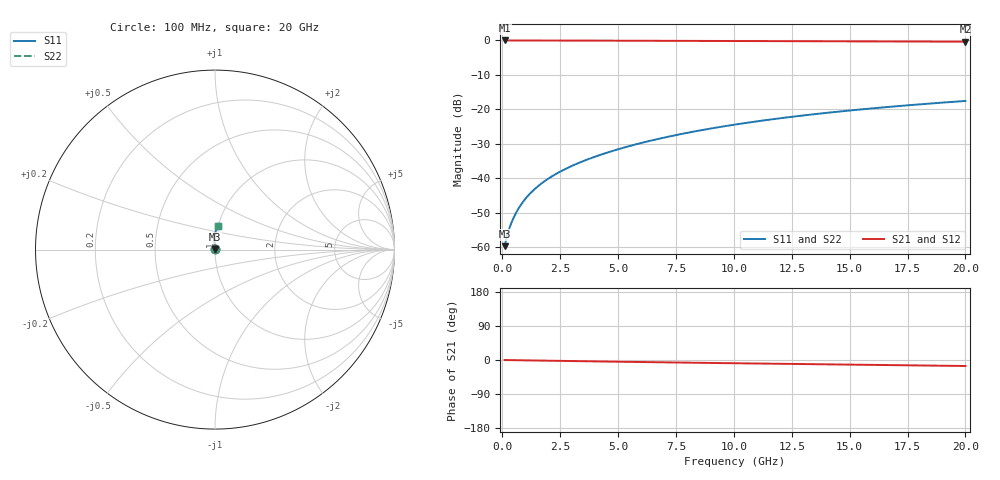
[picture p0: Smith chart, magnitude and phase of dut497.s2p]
! Touchstone file exported from HFSS 2024.1.0
!  File:  C:/UserFiles/LocalFiles/RDL_TSV_Batchsim/temp_RDL_top_497_1779678897.aedt
!  Generated:  11:16:59 AM May 25, 2026
!  Design:  RDL_top
!  Project:  temp_RDL_top_497_1779678897
!  Setup:  Setup1
!  Solution:  Sweep
! Variables:
!  dtsv = 10.80580581um
!  hbump = 3um
!  htsv = 92.79um
!  ldown = 100um
!  lrdl = 235.34um
!  p = 40
!  p1 = 44.06um
!  rhole = 1um
!  t = 450um
!  tdown = 3.915915916um
!  trdl = 4.83um
!  wdown = 15.38538539um
!  wrdl = 26.32um
# GHz S MA R 50.000000
! Terminal data exported
! Port[1] = Box2_T1
! Port[2] = Box2_T2
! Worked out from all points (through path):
!   200 points, 100 MHz to 20 GHz, reference 50 ohm
!   highest |S21| = -0.01 dB at 100 MHz (marker M1); lowest = -0.4 dB at 20 GHz (marker M2)
!   group delay of S21, straight-line fit = 2.16 ps
!   lowest |S11| = -59.8 dB at 100 MHz (marker M3), VSWR 1.00, Z = 50.1 + j0.0588 ohm
!   |S11| at or under -10 dB: start of sweep to end of sweep
!   |S22| runs from -59.8 to -17.6 dB; largest |S21 - S12| = 2.7e-15
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0.1  0.001028 34.8  0.9992 -0.1  0.9992 -0.1  0.001028 34.8
! Gamma 0 0 0 0
! Port Impedance 50 0 50 0
0.2  0.001433 50.3  0.9991 -0.2  0.9991 -0.2  0.001433 50.3
0.3  0.00185 58.8  0.999 -0.3  0.999 -0.3  0.00185 58.8
0.4  0.002277 64.6  0.9989 -0.4  0.9989 -0.4  0.002277 64.6
0.5  0.002715 68.8  0.9988 -0.5  0.9988 -0.5  0.002715 68.8
0.6  0.003164 72.0  0.9988 -0.6  0.9988 -0.6  0.003164 72.0
0.8  0.004084 76.5  0.9987 -0.8  0.9987 -0.8  0.004084 76.5
1.1  0.005501 80.7  0.9984 -1.0  0.9984 -1.0  0.005501 80.7
1.3  0.006463 82.6  0.9982 -1.2  0.9982 -1.2  0.006463 82.6
1.6  0.007923 84.7  0.9979 -1.5  0.9979 -1.5  0.007923 84.7
2.1  0.0104 87.2  0.9973 -2.0  0.9973 -2.0  0.0104 87.2
2.7  0.01346 89.3  0.9963 -2.5  0.9963 -2.5  0.01346 89.3
3.5  0.0177 91.3  0.9948 -3.3  0.9948 -3.3  0.0177 91.3
4.2  0.02159 92.5  0.9932 -3.9  0.9932 -3.9  0.02159 92.5
5  0.02625 93.5  0.9913 -4.6  0.9913 -4.6  0.02625 93.5
6.8  0.03754 94.4  0.9869 -6.0  0.9869 -6.0  0.03754 94.4
8.4  0.04835 94.1  0.9829 -7.3  0.9829 -7.3  0.04835 94.1
10.1  0.06035 93.1  0.9788 -8.6  0.9788 -8.6  0.06034 93.1
11.7  0.07191 91.8  0.9753 -9.8  0.9753 -9.8  0.0719 91.8
13.4  0.08432 90.2  0.9717 -11.1  0.9717 -11.1  0.08432 90.2
16.7  0.1084 86.9  0.9653 -13.5  0.9653 -13.5  0.1084 86.9
20  0.1321 83.6  0.9593 -15.8  0.9593 -15.8  0.1321 83.6
